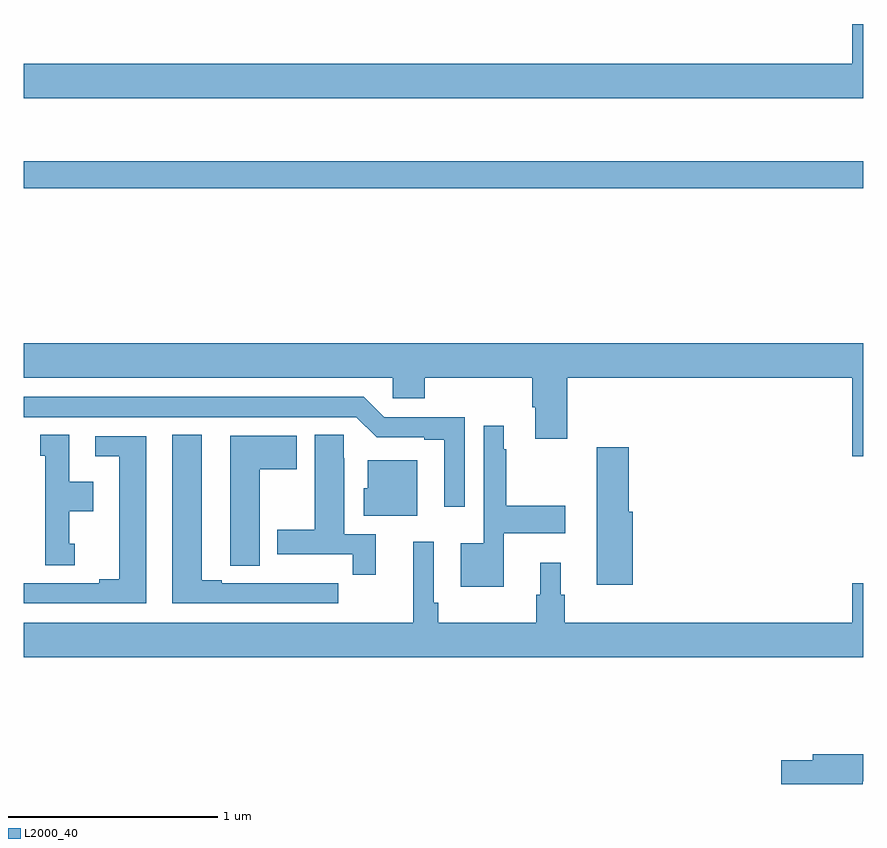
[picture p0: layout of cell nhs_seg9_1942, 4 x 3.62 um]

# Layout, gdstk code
import gdstk
lib = gdstk.Library(unit=1e-6, precision=1e-09)
def R(c, l, rs):  # rectangles x0, y0, x1, y1
    for r in rs: c.add(gdstk.rectangle(r[:2], r[2:], *l))
def P(c, l, *ps):  # polygons
    for p in ps: c.add(gdstk.Polygon(p, *l))
L2000_40 = (2000, 40)

nhs_seg9_1942 = lib.new_cell('nhs_seg9_1942')
R(nhs_seg9_1942, L2000_40, [(221,1181.338,225,1181.467)])
P(nhs_seg9_1942, L2000_40, [(225,1182.121),(224.948,1182.121),(224.948,1181.932),(221,1181.932),(221,1181.768),(225,1181.768)],
  [(225,1180.6),(221,1180.6),(221,1180.436),(222.759,1180.436),(222.759,1180.338),(222.911,1180.338),(222.911,1180.436),(223.424,1180.436),(223.424,1180.294),(223.436,1180.294),(223.436,1180.146),(223.589,1180.146),(223.589,1180.436),(224.948,1180.436),(224.948,1180.062),(225,1180.062)],
  [(223.101,1180.248),(222.717,1180.248),(222.621,1180.344),(221,1180.344),(221,1180.248),(222.585,1180.248),(222.681,1180.152),(222.908,1180.152),(222.908,1180.14),(223.004,1180.14),(223.004,1179.822),(223.101,1179.822)],
  [(223.288,1179.695),(223.579,1179.695),(223.579,1179.825),(223.3,1179.825),(223.3,1180.094),(223.288,1180.094),(223.288,1180.207),(223.191,1180.207),(223.191,1179.646),(223.082,1179.646),(223.082,1179.44),(223.288,1179.44)],
  [(222.677,1179.69),(222.526,1179.69),(222.526,1180.052),(222.525,1180.052),(222.525,1180.163),(222.386,1180.163),(222.386,1179.711),(222.209,1179.711),(222.209,1179.594),(222.568,1179.594),(222.568,1179.498),(222.677,1179.498)],
  [(221.242,1179.645),(221.218,1179.645),(221.218,1179.8),(221.332,1179.8),(221.332,1179.94),(221.218,1179.94),(221.218,1180.163),(221.078,1180.163),(221.078,1180.065),(221.102,1180.065),(221.102,1179.543),(221.242,1179.543)],
  [(222.499,1179.456),(222.386,1179.456),(222.386,1179.457),(222.22,1179.457),(222.22,1179.456),(221.944,1179.456),(221.944,1179.471),(221.848,1179.471),(221.848,1180.163),(221.708,1180.163),(221.708,1179.36),(222.499,1179.36)],
  [(222.124,1180),(222.301,1180),(222.301,1180.159),(221.984,1180.159),(221.984,1179.649),(221.985,1179.649),(221.985,1179.541),(222.124,1179.541)],
  [(221.584,1180.158),(221.34,1180.158),(221.34,1180.062),(221.456,1180.062),(221.456,1179.476),(221.36,1179.476),(221.36,1179.456),(221,1179.456),(221,1179.36),(221.584,1179.36)],
  [(223.901,1179.798),(223.883,1179.798),(223.883,1180.105),(223.729,1180.105),(223.729,1179.913),(223.73,1179.913),(223.73,1179.45),(223.901,1179.45)],
  [(222.874,1180.042),(222.638,1180.042),(222.638,1179.909),(222.62,1179.909),(222.62,1179.779),(222.874,1179.779)],
  [(225,1179.457),(224.948,1179.457),(224.948,1179.268),(223.577,1179.268),(223.577,1179.402),(223.558,1179.402),(223.558,1179.553),(223.46,1179.553),(223.46,1179.402),(223.441,1179.402),(223.441,1179.268),(222.974,1179.268),(222.974,1179.364),(222.954,1179.364),(222.954,1179.655),(222.857,1179.655),(222.857,1179.268),(221,1179.268),(221,1179.104),(225,1179.104)],
  [(224.998,1178.512),(225,1178.512),(225,1178.641),(224.759,1178.641),(224.759,1178.612),(224.61,1178.612),(224.61,1178.5),(224.998,1178.5)])

lib.write_gds('nhs_seg9_1942.gds')
